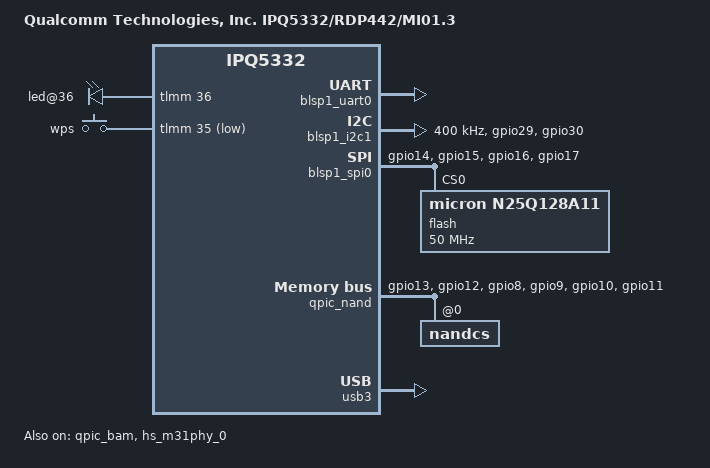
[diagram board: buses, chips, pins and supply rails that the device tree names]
// SPDX-License-Identifier: (GPL-2.0+ OR BSD-3-Clause)
/*
 * IPQ5332 RDP442 board device tree source
 *
 * Copyright (c) 2020-2021 The Linux Foundation. All rights reserved.
 * Copyright (c) 2022-2023 Qualcomm Innovation Center, Inc. All rights reserved.
 */

/dts-v1/;

#include "ipq5332.dtsi"
#include <dt-bindings/gpio/gpio.h>
#include <dt-bindings/input/input.h>

/ {
	model = "Qualcomm Technologies, Inc. IPQ5332/RDP442/MI01.3";
	compatible = "qcom,ipq5332-ap-mi01.3", "qcom,ipq5332-rdp442", "qcom,ipq5332";

	aliases {
		serial0 = &blsp1_uart0;
		serial1 = &blsp1_uart1;
	};

	chosen {
		stdout-path = "serial0";
	};

	soc@0 {
		leds {
			compatible = "gpio-leds";
			pinctrl-0 = <&leds_pins>;
			pinctrl-names = "default";
			led@36 {
				gpios = <&tlmm 36 GPIO_ACTIVE_HIGH>;
				linux,default-trigger = "led_2g";
				default-state = "off";
			};
		};

		gpio_keys {
			compatible = "gpio-keys";
			pinctrl-0 = <&button_pins>;
			pinctrl-names = "default";
			status = "okay";

			button@1 {
				label = "wps";
				linux,code = <KEY_WPS_BUTTON>;
				gpios = <&tlmm 35 GPIO_ACTIVE_LOW>;
				linux,input-type = <1>;
				debounce-interval = <60>;
			};
		};

		q6v5_wcss: remoteproc@d100000 {
			boot-args = <0x1 0x4 0x3 0x0 0x26 0x2>,
					<0x1 0x4 0x4 0x1 0x2f 0x2>;

			/delete-node/ remoteproc_pd1;
			/delete-node/ remoteproc_pd2;
			/delete-node/ remoteproc_pd3;

			q6_wcss_pd4: remoteproc_pd4 {
				compatible = "qcom,ipq5332-mpd-upd-text";
				firmware = "IPQ5332/q6_fw4.mdt";

				q6_wcss_pd1: remoteproc_pd1 {
					compatible = "qcom,ipq5332-wcss-ahb-mpd";
					firmware = "IPQ5332/q6_fw1.mdt";
					m3_firmware = "IPQ5332/iu_fw.mdt";
					interrupts-extended = <&wcss_smp2p_in 8 0>,
							<&wcss_smp2p_in 9 0>,
							<&wcss_smp2p_in 12 0>,
							<&wcss_smp2p_in 11 0>;
					interrupt-names = "fatal",
							"ready",
							"spawn-ack",
							"stop-ack";

					qcom,smem-states = <&wcss_smp2p_out 8>,
							<&wcss_smp2p_out 9>,
							<&wcss_smp2p_out 10>;
					qcom,smem-state-names = "shutdown",
								"stop",
								"spawn";
				};

				q6_wcss_pd2: remoteproc_pd2 {
					compatible = "qcom,ipq5332-wcss-pcie-mpd";
					firmware = "IPQ5332/q6_fw2.mdt";
					m3_firmware = "qcn6432/iu_fw.mdt";
					interrupts-extended = <&wcss_smp2p_in 16 0>,
							<&wcss_smp2p_in 17 0>,
							<&wcss_smp2p_in 20 0>,
							<&wcss_smp2p_in 19 0>;
					interrupt-names = "fatal",
							"ready",
							"spawn-ack",
							"stop-ack";

					qcom,smem-states = <&wcss_smp2p_out 16>,
							<&wcss_smp2p_out 17>,
							<&wcss_smp2p_out 18>;
					qcom,smem-state-names = "shutdown",
								"stop",
								"spawn";
					status = "ok";
				};

				q6_wcss_pd3: remoteproc_pd3 {
					compatible = "qcom,ipq5332-wcss-pcie-mpd";
					firmware = "IPQ5332/q6_fw3.mdt";
					interrupts-extended = <&wcss_smp2p_in 24 0>,
							<&wcss_smp2p_in 25 0>,
							<&wcss_smp2p_in 28 0>,
							<&wcss_smp2p_in 27 0>;
					interrupt-names = "fatal",
							"ready",
							"spawn-ack",
							"stop-ack";

					qcom,smem-states = <&wcss_smp2p_out 24>,
							<&wcss_smp2p_out 25>,
							<&wcss_smp2p_out 26>;
					qcom,smem-state-names = "shutdown",
								"stop",
								"spawn";
					status = "ok";
				};
			};
		};
	};
};

&blsp1_uart0 {
	pinctrl-0 = <&serial_0_pins>;
	pinctrl-names = "default";
	status = "okay";
};

&blsp1_uart1 {
        pinctrl-0 = <&serial_1_pins>;
        pinctrl-names = "default";
        status = "disabled";
};

&blsp1_i2c1 {
	clock-frequency  = <400000>;
	pinctrl-0 = <&i2c_1_pins>;
	pinctrl-names = "default";
	status = "okay";
};

&blsp1_spi0 {
	pinctrl-0 = <&spi_0_data_clk_pins &spi_0_cs_pins>;
	pinctrl-names = "default";
	status = "okay";

	flash@0 {
		compatible = "micron,n25q128a11", "jedec,spi-nor";
		reg = <0>;
		#address-cells = <1>;
		#size-cells = <1>;
		spi-max-frequency = <50000000>;
	};
};

&sdhc {
	bus-width = <4>;
	max-frequency = <192000000>;
	mmc-ddr-1_8v;
	mmc-hs200-1_8v;
	non-removable;
	pinctrl-0 = <&sdc_default_state>;
	pinctrl-names = "default";
	status = "disabled";
};

&sleep_clk {
	clock-frequency = <32000>;
};

&xo_board {
	clock-frequency = <24000000>;
};

&qpic_bam {
	status = "okay";
};

&qpic_nand {
	pinctrl-0 = <&qspi_default_state>;
	pinctrl-names = "default";
	status = "okay";

	nandcs@0 {
		reg = <0>;
		#address-cells = <1>;
		#size-cells = <1>;

		nand-ecc-strength = <8>;
		nand-ecc-step-size = <512>;
		nand-bus-width = <8>;
	};
};

/* PINCTRL */

&tlmm {
	qspi_default_state: qspi-default-state {
		qspi_clock {
			pins = "gpio13";
			function = "qspi_clk";
			drive-strength = <8>;
			bias-pull-down;
		};

		qspi_cs {
			pins = "gpio12";
			function = "qspi_cs";
			drive-strength = <8>;
			bias-pull-up;
		};

		qspi_data {
			pins = "gpio8", "gpio9", "gpio10", "gpio11";
			function = "qspi_data";
			drive-strength = <8>;
			bias-pull-down;
		};
	};

	serial_1_pins: serial1-pinmux {
		pins = "gpio33", "gpio34", "gpio35", "gpio36";
		function = "blsp1_uart2";
		drive-strength = <8>;
		bias-pull-up;
	};

	i2c_1_pins: i2c-1-state {
		pins = "gpio29", "gpio30";
		function = "blsp1_i2c0";
		drive-strength = <8>;
		bias-pull-up;
	};

	leds_pins: leds-state {
		pins = "gpio36";
		function = "gpio";
		drive-strength = <8>;
		bias-pull-down;
	};

	button_pins: button-state {
		pins = "gpio35";
		function = "gpio";
		drive-strength = <8>;
		bias-pull-up;
	};

	sdc_default_state: sdc-default-state {
		clk-pins {
			pins = "gpio13";
			function = "sdc_clk";
			drive-strength = <8>;
			bias-disable;
		};

		cmd-pins {
			pins = "gpio12";
			function = "sdc_cmd";
			drive-strength = <8>;
			bias-pull-up;
		};

		data-pins {
			pins = "gpio8", "gpio9", "gpio10", "gpio11";
			function = "sdc_data";
			drive-strength = <8>;
			bias-pull-up;
		};
	};

	spi_0_data_clk_pins: spi-0-data-clk-state {
		pins = "gpio14", "gpio15", "gpio16";
		function = "blsp0_spi";
		drive-strength = <2>;
		bias-pull-down;
	};

	spi_0_cs_pins: spi-0-cs-state {
		pins = "gpio17";
		function = "blsp0_spi";
		drive-strength = <2>;
		bias-pull-up;
	};
};

&usb3 {
	qcom,select-utmi-as-pipe-clk;
	status = "okay";

	dwc3@8A00000 {
		/delete-property/ #phy-cells;
		/delete-property/ phys;
		/delete-property/ phy-names;
	};
};

&hs_m31phy_0 {
	status = "okay";
};
